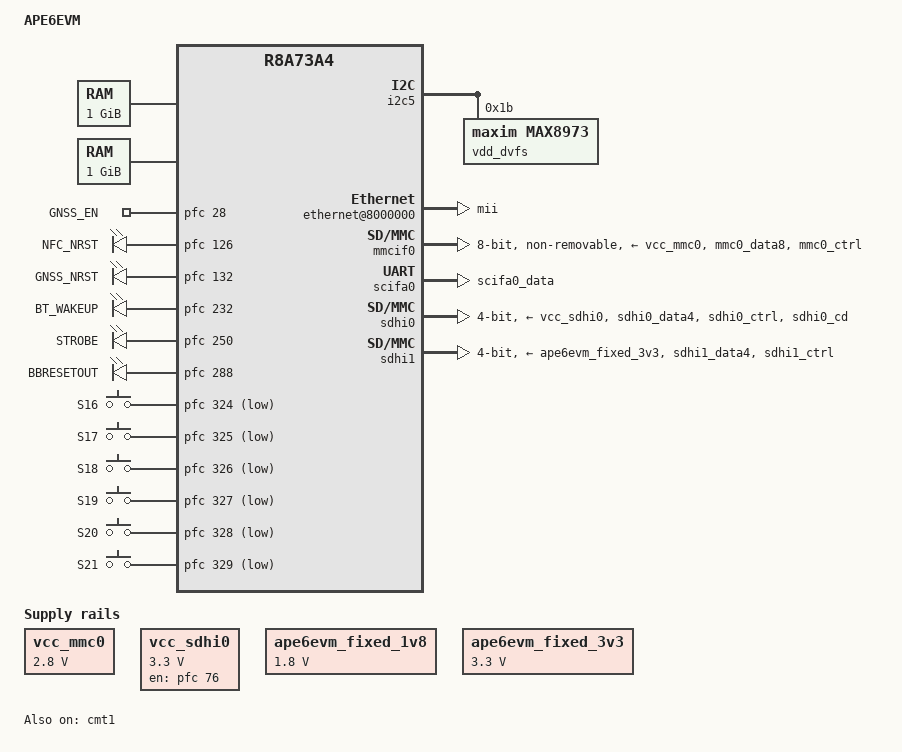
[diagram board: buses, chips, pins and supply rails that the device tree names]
/*
 * Device Tree Source for the APE6EVM board
 *
 * Copyright (C) 2013 Renesas Solutions Corp.
 *
 * This file is licensed under the terms of the GNU General Public License
 * version 2.  This program is licensed "as is" without any warranty of any
 * kind, whether express or implied.
 */

/dts-v1/;
#include "r8a73a4.dtsi"
#include <dt-bindings/gpio/gpio.h>
#include <dt-bindings/input/input.h>

/ {
	model = "APE6EVM";
	compatible = "renesas,ape6evm", "renesas,r8a73a4";

	aliases {
		serial0 = &scifa0;
	};

	chosen {
		bootargs = "ignore_loglevel root=/dev/nfs ip=dhcp rw";
		stdout-path = "serial0:115200n8";
	};

	memory@40000000 {
		device_type = "memory";
		reg = <0 0x40000000 0 0x40000000>;
	};

	memory@200000000 {
		device_type = "memory";
		reg = <2 0x00000000 0 0x40000000>;
	};

	vcc_mmc0: regulator-mmc0 {
		compatible = "regulator-fixed";
		regulator-name = "MMC0 Vcc";
		regulator-min-microvolt = <2800000>;
		regulator-max-microvolt = <2800000>;
		regulator-always-on;
	};

	vcc_sdhi0: regulator-sdhi0 {
		compatible = "regulator-fixed";

		regulator-name = "SDHI0 Vcc";
		regulator-min-microvolt = <3300000>;
		regulator-max-microvolt = <3300000>;

		gpio = <&pfc 76 GPIO_ACTIVE_HIGH>;
		enable-active-high;
	};

	/* Common 1.8V and 3.3V rails, used by several devices on APE6EVM */
	ape6evm_fixed_1v8: regulator-1v8 {
		compatible = "regulator-fixed";
		regulator-name = "1V8";
		regulator-min-microvolt = <1800000>;
		regulator-max-microvolt = <1800000>;
		regulator-always-on;
	};

	ape6evm_fixed_3v3: regulator-3v3 {
		compatible = "regulator-fixed";
		regulator-name = "3V3";
		regulator-min-microvolt = <3300000>;
		regulator-max-microvolt = <3300000>;
		regulator-always-on;
	};

	leds {
		compatible = "gpio-leds";
		led1 {
			gpios = <&pfc 28 GPIO_ACTIVE_HIGH>;
			label = "GNSS_EN";
		};
		led2 {
			gpios = <&pfc 126 GPIO_ACTIVE_HIGH>;
			label = "NFC_NRST";
		};
		led3 {
			gpios = <&pfc 132 GPIO_ACTIVE_HIGH>;
			label = "GNSS_NRST";
		};
		led4 {
			gpios = <&pfc 232 GPIO_ACTIVE_HIGH>;
			label = "BT_WAKEUP";
		};
		led5 {
			gpios = <&pfc 250 GPIO_ACTIVE_HIGH>;
			label = "STROBE";
		};
		led6 {
			gpios = <&pfc 288 GPIO_ACTIVE_HIGH>;
			label = "BBRESETOUT";
		};
	};

	keyboard {
		compatible = "gpio-keys";

		pinctrl-names = "default";
		pinctrl-0 = <&keyboard_pins>;

		zero-key {
			gpios = <&pfc 324 GPIO_ACTIVE_LOW>;
			linux,code = <KEY_0>;
			label = "S16";
			wakeup-source;
		};

		menu-key {
			gpios = <&pfc 325 GPIO_ACTIVE_LOW>;
			linux,code = <KEY_MENU>;
			label = "S17";
		};

		home-key {
			gpios = <&pfc 326 GPIO_ACTIVE_LOW>;
			linux,code = <KEY_HOME>;
			label = "S18";
		};

		back-key {
			gpios = <&pfc 327 GPIO_ACTIVE_LOW>;
			linux,code = <KEY_BACK>;
			label = "S19";
		};

		volup-key {
			gpios = <&pfc 328 GPIO_ACTIVE_LOW>;
			linux,code = <KEY_VOLUMEUP>;
			label = "S20";
		};

		voldown-key {
			gpios = <&pfc 329 GPIO_ACTIVE_LOW>;
			linux,code = <KEY_VOLUMEDOWN>;
			label = "S21";
		};
	};
};

&i2c5 {
	status = "okay";
	vdd_dvfs: regulator@1b {
		compatible = "maxim,max8973";
		reg = <0x1b>;

		regulator-min-microvolt = <935000>;
		regulator-max-microvolt = <1200000>;
		regulator-boot-on;
		regulator-always-on;
	};
};

&cpu0 {
	cpu0-supply = <&vdd_dvfs>;
	operating-points = <
		/* kHz  uV */
		1950000 1115000
		1462500  995000
	>;
	voltage-tolerance = <1>; /* 1% */
};

&bsc {
	ethernet@8000000 {
		compatible = "smsc,lan9220", "smsc,lan9115";
		reg = <0x08000000 0x1000>;
		interrupt-parent = <&irqc1>;
		interrupts = <8 IRQ_TYPE_LEVEL_HIGH>;
		phy-mode = "mii";
		reg-io-width = <4>;
		smsc,irq-active-high;
		smsc,irq-push-pull;
		vdd33a-supply = <&ape6evm_fixed_3v3>;
		vddvario-supply = <&ape6evm_fixed_1v8>;
	};
};

&cmt1 {
	status = "okay";
};

&pfc {
	scifa0_pins: serial0 {
		groups = "scifa0_data";
		function = "scifa0";
	};

	mmc0_pins: mmc {
		groups = "mmc0_data8", "mmc0_ctrl";
		function = "mmc0";
	};

	sdhi0_pins: sd0 {
		groups = "sdhi0_data4", "sdhi0_ctrl", "sdhi0_cd";
		function = "sdhi0";
	};

	sdhi1_pins: sd1 {
		groups = "sdhi1_data4", "sdhi1_ctrl";
		function = "sdhi1";
	};

	keyboard_pins: keyboard {
		pins = "PORT324", "PORT325", "PORT326", "PORT327", "PORT328",
		       "PORT329";
		bias-pull-up;
	};
};

&mmcif0 {
	vmmc-supply = <&vcc_mmc0>;
	bus-width = <8>;
	non-removable;
	pinctrl-names = "default";
	pinctrl-0 = <&mmc0_pins>;
	status = "okay";
};

&scifa0 {
	pinctrl-0 = <&scifa0_pins>;
	pinctrl-names = "default";

	status = "okay";
};

&sdhi0 {
	vmmc-supply = <&vcc_sdhi0>;
	bus-width = <4>;
	toshiba,mmc-wrprotect-disable;
	pinctrl-names = "default";
	pinctrl-0 = <&sdhi0_pins>;
	status = "okay";
};

&sdhi1 {
	vmmc-supply = <&ape6evm_fixed_3v3>;
	bus-width = <4>;
	broken-cd;
	toshiba,mmc-wrprotect-disable;
	pinctrl-names = "default";
	pinctrl-0 = <&sdhi1_pins>;
	status = "okay";
};
